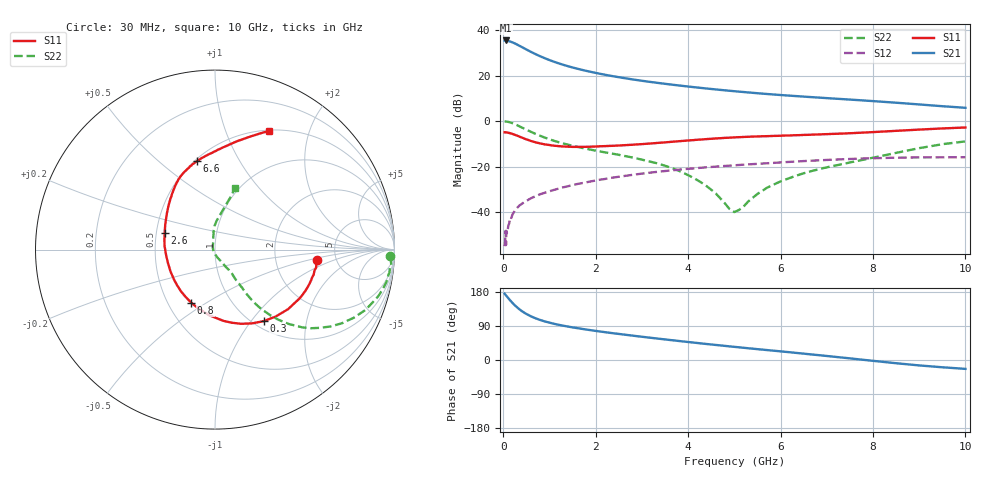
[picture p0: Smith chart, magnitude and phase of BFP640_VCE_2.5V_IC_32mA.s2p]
! (c) 2013  Infineon Technologies AG, Munich
! Infineon Technologies  Discrete & RF Semiconductors
! BFP640
! VCE =  2.5 V,  IC =  32 mA
! Common Emitter S-Parameters:  Apr 2013
# GHz  S  MA  R  50
!  f  S11  S21  S12  S22
! GHz  MAG  ANG  MAG  ANG  MAG  ANG  MAG  ANG
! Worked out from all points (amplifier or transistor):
!   99 points, 30 MHz to 10 GHz, reference 50 ohm
!   highest |S21| = 35.5 dB at 50 MHz (marker M1)
!   |S21| within 3 dB of that: start of sweep to 412.7 MHz
!   unconditionally stable (mu >= 1): 2.152 GHz to end of sweep
!   at 350 MHz: K = 0.39, MSG = 35.1 dB, |S12| = -37.0 dB
!   at 3.5 GHz: K = 1.05, MAG = 17.8 dB, |S12| = -21.9 dB
!   at 10 GHz: K = 1.06, MAG = 9.3 dB, |S12| = -15.8 dB
!   S11 on the Smith chart (normalised r, x): 30 MHz: 3.55, -0.59; 300 MHz: 1.11, -1.15; 800 MHz: 0.65, -0.43; 2.6 GHz: 0.55, +0.12; 6.6 GHz: 0.51, +0.68; 10 GHz: 0.51, +1.43
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0.03  0.5702 -5.7  59.22 175.0  0.0018 90.6  0.978 -2.1
0.05  0.5723 -10.1  59.3 172.2  0.0039 71.5  0.9857 -5.0
0.12  0.554 -24.3  57.3 161.6  0.0054 81.1  0.96 -13.3
0.2  0.5252 -39.2  53.76 150.7  0.0089 76.3  0.9036 -21.8
0.25  0.5035 -47.8  51.14 144.5  0.0108 72.5  0.8608 -26.2
0.3  0.4821 -55.8  48.19 139.0  0.0124 71.7  0.8166 -30.2
0.4  0.438 -70.7  42.66 129.3  0.0152 66.8  0.728 -36.8
0.5  0.3997 -83.3  37.61 121.6  0.0177 65.1  0.6514 -41.7
0.6  0.3681 -94.7  33.29 115.2  0.0203 64.1  0.5842 -45.2
0.7  0.3434 -104.8  29.67 110.0  0.0225 63.8  0.5263 -47.9
0.8  0.3244 -114.0  26.64 105.6  0.0249 62.4  0.4778 -49.9
0.9  0.3094 -122.4  24.14 101.8  0.0268 62.4  0.4357 -51.4
1.1  0.2896 -137.0  20.19 95.5  0.031 61.1  0.3705 -53.4
1.4  0.2757 -154.7  16.15 88.2  0.0373 59.9  0.3053 -54.5
1.7  0.2725 -169.0  13.44 82.2  0.0435 58.4  0.2596 -54.5
2.6  0.2961 161.3  8.897 67.3  0.0622 52.5  0.1742 -55.0
3.4  0.337 142.5  6.819 55.7  0.0785 45.9  0.1127 -58.1
5.1  0.4455 116.3  4.462 33.5  0.1091 31.2  0.0112 170.5
6.6  0.5022 101.6  3.413 15.5  0.1346 18.0  0.0768 96.8
6.7  0.5069 100.5  3.363 14.3  0.1361 17.0  0.0817 96.1
8.5  0.6141 78.8  2.546 -8.5  0.1579 -1.2  0.2013 81.1
10  0.7268 65.5  1.968 -23.4  0.162 -13.2  0.3601 72.1
